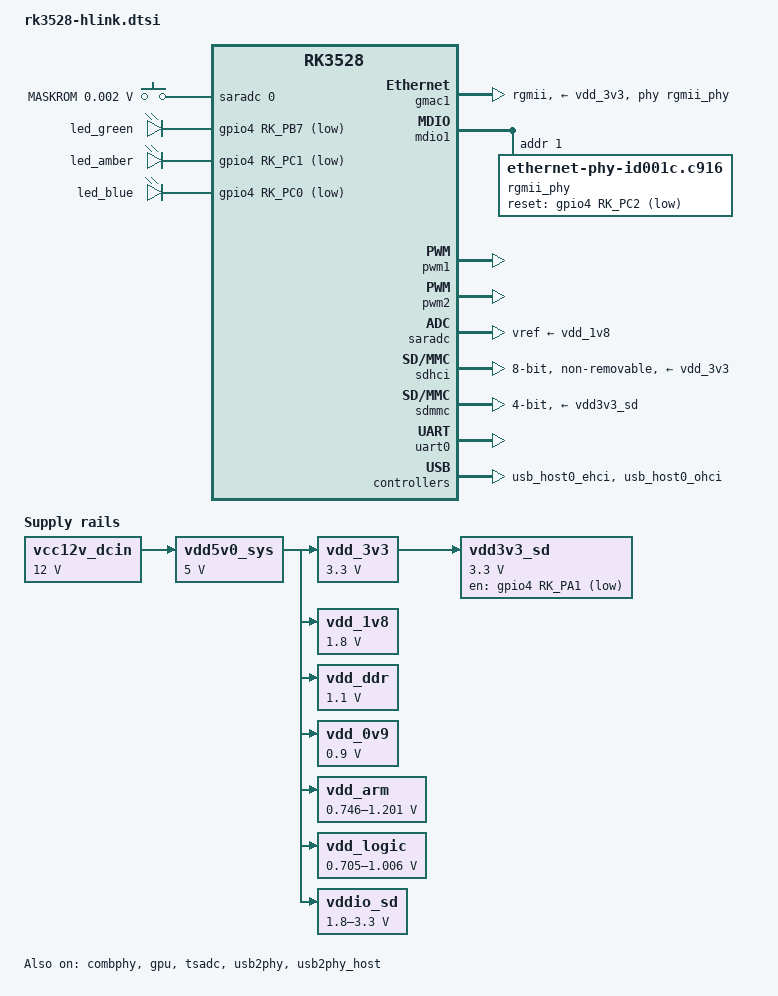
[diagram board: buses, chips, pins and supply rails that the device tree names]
// SPDX-License-Identifier: (GPL-2.0+ OR MIT)
/*
 * Copyright (c) 2022 Rockchip Electronics Co., Ltd.
 * Copyright (c) 2025 flippy <flippy@sina.com>
 */

/dts-v1/;

#include <dt-bindings/input/input.h>
#include <dt-bindings/leds/common.h>
#include <dt-bindings/pwm/pwm.h>
#include "rk3528.dtsi"
#include "rk3528-op-pwm.dtsi"

/ {
	adc_keys: adc-keys {
		status = "okay";
		compatible = "adc-keys";
		io-channels = <&saradc 0>;
		io-channel-names = "buttons";
		keyup-threshold-microvolt = <1800000>;
		poll-interval = <100>;

		vol-up-key {
			label = "MASKROM";
			linux,code = <KEY_SETUP>;
			press-threshold-microvolt = <1750>;
		};
	};

	aliases {
		ethernet0 = &gmac1;
		mmc0 = &sdmmc;
		mmc1 = &sdhci;
	};

	chosen: chosen{
		stdout-path = "serial0:1500000n8";
	};

	leds: leds {
		compatible = "gpio-leds";
		pinctrl-names = "led-green", "led-amber", "led-blue";
		pinctrl-0 = <&led_green_en>, <&led_amber_en>, <&led_blue_en>;

		led_green: led-green {
			label = "led_green";
			gpios = <&gpio4 RK_PB7 GPIO_ACTIVE_LOW>;
			linux,default-trigger = "heartbeat";
		};

		led_amber: led-amber {
			label = "led_amber";
			gpios = <&gpio4 RK_PC1 GPIO_ACTIVE_LOW>;
		};

		led_blue: led-blue {
			label = "led_blue";
			gpios = <&gpio4 RK_PC0 GPIO_ACTIVE_LOW>;
		};
	};

	reserved_memory: reserved-memory {
		#address-cells = <2>;
		#size-cells = <2>;
		ranges;

		cmd: cma {
			compatible = "shared-dma-pool";
			reusable;
			size = <0x00 0x08000000>;
			linux,cma-default;
		};

		ramoops: ramoops@110000 {
			compatible = "ramoops";
			/* 0x110000 to 0x1f0000 is for ramoops */
			reg = <0x0 0x110000 0x0 0xe0000>;
			boot-log-size = <0x8000>;	/* do not change */
			boot-log-count = <0x1>;		/* do not change */
			console-size = <0x80000>;
			pmsg-size = <0x30000>;
			ftrace-size = <0x00000>;
			record-size = <0x14000>;
		};
	};

	vcc12v_dcin: regulator-vcc12v-dcin {
		compatible = "regulator-fixed";
		regulator-name = "vcc12v-dcin";
		regulator-always-on;
		regulator-boot-on;
		regulator-min-microvolt = <12000000>;
		regulator-max-microvolt = <12000000>;
	};

	vdd5v0_sys: regulator-vdd5v0-sys {
		compatible = "regulator-fixed";
		regulator-name = "vdd5v0_sys";
		regulator-always-on;
		regulator-boot-on;
		regulator-min-microvolt = <5000000>;
		regulator-max-microvolt = <5000000>;
		vin-supply = <&vcc12v_dcin>;
	};

	vdd_3v3: regulator-vdd-3v3 {
		compatible = "regulator-fixed";
		regulator-name = "vdd_3v3";
		regulator-always-on;
		regulator-boot-on;
		regulator-min-microvolt = <3300000>;
		regulator-max-microvolt = <3300000>;
		vin-supply = <&vdd5v0_sys>;
	};

	vdd_1v8: regulator-vdd-1v8 {
		compatible = "regulator-fixed";
		regulator-name = "vdd_1v8";
		regulator-always-on;
		regulator-boot-on;
		regulator-min-microvolt = <1800000>;
		regulator-max-microvolt = <1800000>;
		vin-supply = <&vdd5v0_sys>;
	};

	vdd_ddr: regulator-vdd-ddr {
		compatible = "regulator-fixed";
		regulator-name = "vdd_ddr";
		regulator-always-on;
		regulator-boot-on;
		regulator-min-microvolt = <1100000>;
		regulator-max-microvolt = <1100000>;
		vin-supply = <&vdd5v0_sys>;
	};

	vdd_0v9: regulator-vdd-0v9 {
		compatible = "regulator-fixed";
		regulator-name = "vdd_0v9";
		regulator-always-on;
		regulator-boot-on;
		regulator-min-microvolt = <900000>;
		regulator-max-microvolt = <900000>;
		vin-supply = <&vdd5v0_sys>;
	};

	vdd_arm: regulator-vdd-arm {
		compatible = "pwm-regulator";
		pwms = <&pwm1 0 5000 PWM_POLARITY_INVERTED>;
		pwm-supply = <&vdd5v0_sys>;
		regulator-name = "vdd_arm";
		regulator-always-on;
		regulator-boot-on;
		regulator-min-microvolt = <746000>;
		regulator-max-microvolt = <1201000>;
		regulator-settling-time-up-us = <250>;
	};

	vdd_logic: regulator-vdd-logic {
		compatible = "pwm-regulator";
		pwms = <&pwm2 0 5000 PWM_POLARITY_INVERTED>;
		pwm-supply = <&vdd5v0_sys>;
		regulator-name = "vdd_logic";
		regulator-always-on;
		regulator-boot-on;
		regulator-min-microvolt = <705000>;
		regulator-max-microvolt = <1006000>;
		regulator-settling-time-up-us = <250>;
	};

	vdd3v3_sd: vdd3v3-sd {
		compatible = "regulator-fixed";
		gpio = <&gpio4 RK_PA1 GPIO_ACTIVE_LOW>;
		regulator-always-on;
		regulator-boot-on;
		regulator-min-microvolt = <3300000>;
		regulator-max-microvolt = <3300000>;
		regulator-name = "vdd3v3_sd";
		vin-supply = <&vdd_3v3>;
	};

	vddio_sd: regulator-vccio-sd {
		compatible = "regulator-gpio";
		gpios = <&gpio4 RK_PB6 GPIO_ACTIVE_HIGH>;
		pinctrl-names = "default";
		pinctrl-0 = <&sdmmc_vol_ctrl_h>;
		regulator-name = "vddio_sd";
		regulator-min-microvolt = <1800000>;
		regulator-max-microvolt = <3300000>;
		states = <1800000 0x0 3300000 0x1>;
		vin-supply = <&vdd5v0_sys>;
	};
};

&combphy {
	status = "okay";
};

&cpu0 {
	cpu-supply = <&vdd_arm>;
};

&cpu1 {
	cpu-supply = <&vdd_arm>;
};

&cpu2 {
	cpu-supply = <&vdd_arm>;
};

&cpu3 {
	cpu-supply = <&vdd_arm>;
};

&gmac1 {
	/* Please Fix me:
	 * When snps,tso exists,
	 * it may cause the netdev watchdog to time out
	 */
	/delete-property/ snps,tso;

	clock_in_out = "output";
	label = "eth0";
	phy-handle = <&rgmii_phy>;
	phy-mode = "rgmii";
	phy-supply = <&vdd_3v3>;

	pinctrl-names = "default";
	pinctrl-0 = <&rgmii_miim>, <&rgmii_tx_bus2>, <&rgmii_rx_bus2>, 
		    <&rgmii_rgmii_clk>, <&rgmii_rgmii_bus>, <&rgmii_clk>;

	tx_delay = <0x36>;
	rx_delay = <0x2d>;
	status = "okay";
};

&gpu {
	mali-supply = <&vdd_logic>;
	status = "okay";
};

&mdio1 {
	rgmii_phy: phy@1 {
		/* Realtek RTL8211F (phyid 0x001cc916) */
		compatible = "ethernet-phy-id001c.c916";
		reg = <0x1>;

		realtek,led1-triggers = "link-10", "link-100", "link-1000";
		realtek,led2-triggers = "activity";

		pinctrl-names = "default";
		pinctrl-0 = <&gmac1_reset_pin>;

		/* Reset time is 20ms, 100ms for rtl8211f */
		reset-assert-us = <20000>;
		reset-deassert-us = <100000>;
		reset-gpios = <&gpio4 RK_PC2 GPIO_ACTIVE_LOW>;
	};
};

&pinctrl {
	leds {
		led_green_en: led-green-en {
			rockchip,pins = <4 RK_PB7 RK_FUNC_GPIO &pcfg_pull_up>;
		};

		led_amber_en: led-amber-en {
			rockchip,pins = <4 RK_PC1 RK_FUNC_GPIO &pcfg_pull_up>;
		};

		led_blue_en: led-blue-en {
			rockchip,pins = <4 RK_PC0 RK_FUNC_GPIO &pcfg_pull_up>;
		};
	};

	gmac {
		gmac1_reset_pin: gmac1-reset-pin {
			rockchip,pins = <4 RK_PC2 RK_FUNC_GPIO &pcfg_pull_up>;
		};
	};

	sdmmc {
		sdmmc_vol_ctrl_h: sdmmc-vol-ctrl-h {
			rockchip,pins = <4 RK_PB6 RK_FUNC_GPIO &pcfg_pull_none>;
		};
	};
};

&pwm1 {
	pinctrl-names = "default";
	pinctrl-0 = <&pwm1m0_pins>;
	status = "okay";
};

&pwm2 {
	pinctrl-names = "default";
	pinctrl-0 = <&pwm2m0_pins>;
	status = "okay";
};

&saradc {
	status = "okay";
	vref-supply = <&vdd_1v8>;
};

&sdhci {
	bus-width = <8>;
	no-sd;
	no-sdio;
	non-removable;
	mmc-hs200-1_8v;
	vmmc-supply = <&vdd_3v3>;
	vqmmc-supply = <&vdd_1v8>;
	status = "okay";
};

&sdmmc {
	bus-width = <4>;
	disable-wp;
	supports-sd;
	cap-mmc-highspeed;
	cap-sd-highspeed;
	sd-uhs-sdr12;
	sd-uhs-sdr25;
	sd-uhs-sdr50;
	sd-uhs-sdr104;
	vmmc-supply = <&vdd3v3_sd>;
	vqmmc-supply = <&vddio_sd>;
	status = "okay";
};

&tsadc {
	status = "okay";
};

&usb2phy {
	status = "okay";
};

&usb2phy_host {
	phy-supply = <&vdd5v0_sys>;
	status = "okay";
};

&uart0 {
	pinctrl-names = "default";
	pinctrl-0 = <&uart0m0_xfer>;
	status = "okay";
};

&usb_host0_ehci {
	status = "okay";
};

&usb_host0_ohci {
	status = "okay";
};
